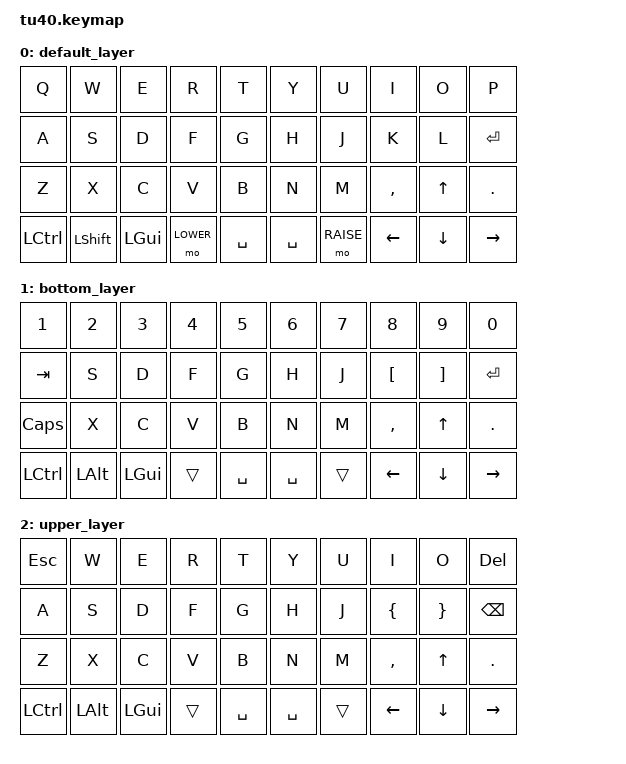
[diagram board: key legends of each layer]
#include <behaviors.dtsi>
#include <dt-bindings/zmk/keys.h>
#include <dt-bindings/zmk/bt.h>

#define DEFAULT 0
#define LOWER   1
#define RAISE   2

/ {
    keymap {
        compatible = "zmk,keymap";

        default_layer {
            bindings = <
                &kp Q    &kp W    &kp E    &kp R    &kp T    &kp Y    &kp U    &kp I    &kp O    &kp P
                &kp A    &kp S    &kp D    &kp F    &kp G    &kp H    &kp J    &kp K    &kp L    &kp ENTER
                &kp Z    &kp X    &kp C    &kp V    &kp B    &kp N    &kp M    &kp COMMA    &kp UP    &kp DOT
                &kp LCTRL    &kp LSHFT    &kp LGUI    &mo LOWER    &kp SPACE    &kp SPACE    &mo RAISE    &kp LEFT    &kp DOWN    &kp RIGHT
            >;
        };

        bottom_layer {
            bindings = <
                &kp N1    &kp N2    &kp N3    &kp N4    &kp N5    &kp N6    &kp N7    &kp N8    &kp N9    &kp N0
                &kp TAB    &kp S    &kp D    &kp F    &kp G    &kp H    &kp J    &kp LBKT    &kp RBKT    &kp ENTER
                &kp CAPS    &kp X    &kp C    &kp V    &kp B    &kp N    &kp M    &kp COMMA    &kp UP    &kp DOT
                &kp LCTRL    &kp LALT    &kp LGUI    &trans    &kp SPACE    &kp SPACE    &trans    &kp LEFT    &kp DOWN    &kp RIGHT
            >;
        };

        upper_layer {
            bindings = <
                &kp ESC    &kp W    &kp E    &kp R    &kp T    &kp Y    &kp U    &kp I    &kp O    &kp DEL
                &kp A    &kp S    &kp D    &kp F    &kp G    &kp H    &kp J    &kp LBRC    &kp RBRC    &kp BSPC
                &kp Z    &kp X    &kp C    &kp V    &kp B    &kp N    &kp M    &kp COMMA    &kp UP    &kp DOT
                &kp LCTRL    &kp LALT    &kp LGUI    &trans    &kp SPACE    &kp SPACE    &trans    &kp LEFT    &kp DOWN    &kp RIGHT
            >;
        };
    };
};

&nice_view_spi {
    cs-gpios = <&gpio0 31 GPIO_ACTIVE_HIGH>;
};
